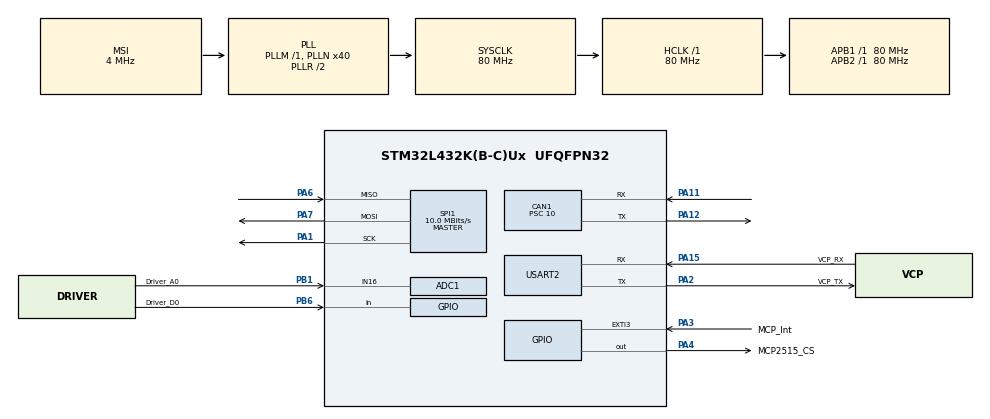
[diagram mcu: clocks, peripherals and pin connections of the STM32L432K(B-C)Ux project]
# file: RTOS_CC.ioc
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ADC1.Channel-30\#ChannelRegularConversion=ADC_CHANNEL_16
ADC1.DataAlign=ADC_DATAALIGN_LEFT
ADC1.NbrOfConversionFlag=1
ADC1.OffsetNumber-30\#ChannelRegularConversion=ADC_OFFSET_NONE
ADC1.Rank-30\#ChannelRegularConversion=1
ADC1.SamplingTime-30\#ChannelRegularConversion=ADC_SAMPLETIME_2CYCLES_5
ADC1.master=1
CAN1.ABOM=ENABLE
CAN1.AWUM=ENABLE
CAN1.BS1=CAN_BS1_12TQ
CAN1.BS2=CAN_BS2_3TQ
CAN1.CalculateTimeBit=2000
CAN1.CalculateTimeQuantum=125.0
CAN1.Prescaler=10
CAN1.SJW=CAN_SJW_3TQ
Dma.Request0=USART2_RX
Dma.Request1=USART2_TX
Dma.Request2=SPI1_TX
Dma.Request3=SPI1_RX
Dma.SPI1_RX.3.Direction=DMA_PERIPH_TO_MEMORY
Dma.SPI1_RX.3.Instance=DMA1_Channel2
Dma.SPI1_RX.3.MemDataAlignment=DMA_MDATAALIGN_BYTE
Dma.SPI1_RX.3.MemInc=DMA_MINC_ENABLE
Dma.SPI1_RX.3.Mode=DMA_NORMAL
Dma.SPI1_RX.3.PeriphDataAlignment=DMA_PDATAALIGN_BYTE
Dma.SPI1_RX.3.PeriphInc=DMA_PINC_DISABLE
Dma.SPI1_RX.3.Priority=DMA_PRIORITY_VERY_HIGH
Dma.SPI1_TX.2.Direction=DMA_MEMORY_TO_PERIPH
Dma.SPI1_TX.2.Instance=DMA1_Channel3
Dma.SPI1_TX.2.MemDataAlignment=DMA_MDATAALIGN_BYTE
Dma.SPI1_TX.2.MemInc=DMA_MINC_ENABLE
Dma.SPI1_TX.2.Mode=DMA_NORMAL
Dma.SPI1_TX.2.PeriphDataAlignment=DMA_PDATAALIGN_BYTE
Dma.SPI1_TX.2.PeriphInc=DMA_PINC_DISABLE
Dma.SPI1_TX.2.Priority=DMA_PRIORITY_HIGH
Dma.USART2_RX.0.Direction=DMA_PERIPH_TO_MEMORY
Dma.USART2_RX.0.Instance=DMA1_Channel6
Dma.USART2_RX.0.MemDataAlignment=DMA_MDATAALIGN_BYTE
Dma.USART2_RX.0.MemInc=DMA_MINC_ENABLE
Dma.USART2_RX.0.Mode=DMA_CIRCULAR
Dma.USART2_RX.0.PeriphDataAlignment=DMA_PDATAALIGN_BYTE
Dma.USART2_RX.0.PeriphInc=DMA_PINC_DISABLE
Dma.USART2_RX.0.Priority=DMA_PRIORITY_HIGH
Dma.USART2_TX.1.Direction=DMA_MEMORY_TO_PERIPH
Dma.USART2_TX.1.Instance=DMA1_Channel7
Dma.USART2_TX.1.MemDataAlignment=DMA_MDATAALIGN_BYTE
Dma.USART2_TX.1.MemInc=DMA_MINC_ENABLE
Dma.USART2_TX.1.Mode=DMA_NORMAL
Dma.USART2_TX.1.PeriphDataAlignment=DMA_PDATAALIGN_BYTE
Dma.USART2_TX.1.PeriphInc=DMA_PINC_DISABLE
Dma.USART2_TX.1.Priority=DMA_PRIORITY_MEDIUM
FREERTOS.BinarySemaphores01=spiRxDirty
FREERTOS.HEAP_NUMBER=4
FREERTOS.INCLUDE_eTaskGetState=1
FREERTOS.INCLUDE_vTaskDelayUntil=1
FREERTOS.INCLUDE_xQueueGetMutexHolder=1
FREERTOS.INCLUDE_xSemaphoreGetMutexHolder=1
FREERTOS.INCLUDE_xTaskGetCurrentTaskHandle=1
FREERTOS.Mutexes01=ctrlVarMtx
FREERTOS.Queues01=mainCanTxBuf,8,Can_frame_t,NULL;mainCanRxBuf,8,Can_frame_core_t,NULL;motCanTxBuf,8,Can_frame_t,NULL;badNodes,16,uint8_t,NULL
FREERTOS.Tasks01=RT_Handler,2,512,doRealTime,Default;mainCan_Tx,0,512,doCanTx,Default;Can_Processor,-1,512,doProcessCan,Default;Node_Manager,-2,512,doNodeManager,Default;motCan_Tx,2,512,doMotCanTx,Default;kickWatchdog,3,256,doKickDog,Default
FREERTOS.Timers01=HBTmr,TmrSendHB,osTimerPeriodic,Default
FREERTOS.configCHECK_FOR_STACK_OVERFLOW=2
FREERTOS.configENABLE_BACKWARD_COMPATIBILITY=0
FREERTOS.configMAX_PRIORITIES=7
FREERTOS.configMINIMAL_STACK_SIZE=256
FREERTOS.configTIMER_QUEUE_LENGTH=32
FREERTOS.configTIMER_TASK_PRIORITY=5
FREERTOS.configTIMER_TASK_STACK_DEPTH=512
FREERTOS.configTOTAL_HEAP_SIZE=32768
FREERTOS.configUSE_MALLOC_FAILED_HOOK=1
FREERTOS.configUSE_PORT_OPTIMISED_TASK_SELECTION=1
FREERTOS.configUSE_TASK_NOTIFICATIONS=0
FREERTOS.configUSE_TIMERS=1
FREERTOS.configUSE_TRACE_FACILITY=0
Mcu.Family=STM32L4
Mcu.Name=STM32L432K(B-C)Ux
Mcu.Package=UFQFPN32
NVIC.CAN1_RX0_IRQn=true\:5\:0\:true\:false\:true\:true
NVIC.CAN1_RX1_IRQn=true\:5\:0\:true\:false\:true\:true
NVIC.CAN1_SCE_IRQn=true\:5\:0\:true\:false\:true\:true
NVIC.CAN1_TX_IRQn=true\:5\:0\:true\:false\:true\:true
NVIC.DMA1_Channel2_IRQn=true\:5\:0\:false\:false\:true\:true
NVIC.DMA1_Channel3_IRQn=true\:5\:0\:false\:false\:true\:true
NVIC.DMA1_Channel6_IRQn=true\:5\:0\:false\:false\:true\:true
NVIC.DMA1_Channel7_IRQn=true\:5\:0\:false\:false\:true\:true
NVIC.EXTI3_IRQn=true\:5\:0\:false\:false\:true\:true
NVIC.PriorityGroup=NVIC_PRIORITYGROUP_4
NVIC.SPI1_IRQn=true\:5\:0\:false\:false\:true\:true
NVIC.TIM6_DAC_IRQn=true\:0\:0\:false\:false\:true\:false
NVIC.TimeBase=TIM6_DAC_IRQn
NVIC.TimeBaseIP=TIM6
NVIC.USART2_IRQn=true\:5\:0\:false\:false\:true\:true
PA1.Mode=Full_Duplex_Master
PA1.Signal=SPI1_SCK
PA11.Mode=Master
PA11.Signal=CAN1_RX
PA12.Mode=Master
PA12.Signal=CAN1_TX
PA13\ (JTMS-SWDIO).Mode=Serial_Wire
PA13\ (JTMS-SWDIO).Signal=SYS_JTMS-SWDIO
PA14\ (JTCK-SWCLK).Mode=Serial_Wire
PA14\ (JTCK-SWCLK).Signal=SYS_JTCK-SWCLK
PA15\ (JTDI).GPIO_Label=VCP_RX
PA15\ (JTDI).Mode=Asynchronous
PA15\ (JTDI).Signal=USART2_RX
PA2.GPIO_Label=VCP_TX
PA2.Mode=Asynchronous
PA2.Signal=USART2_TX
PA3.GPIO_Label=MCP_Int
PA3.GPIO_ModeDefaultEXTI=GPIO_MODE_IT_FALLING
PA3.GPIO_PuPd=GPIO_PULLUP
PA3.Signal=GPXTI3
PA4.GPIO_Label=MCP2515_CS
PA4.GPIO_ModeDefaultOutputPP=GPIO_MODE_OUTPUT_PP
PA4.GPIO_PuPd=GPIO_NOPULL
PA4.GPIO_Speed=GPIO_SPEED_FREQ_VERY_HIGH
PA4.PinState=GPIO_PIN_SET
PA4.Signal=GPIO_Output
PA6.Mode=Full_Duplex_Master
PA6.Signal=SPI1_MISO
PA7.Mode=Full_Duplex_Master
PA7.Signal=SPI1_MOSI
PB1.GPIO_Label=Driver_A0
PB1.Signal=ADCx_IN16
PB6.GPIO_Label=Driver_D0
PB6.Signal=GPIO_Input
ProjectManager.HeapSize=0x200
ProjectManager.StackSize=0x400
ProjectManager.TargetToolchain=SW4STM32
RCC.ADCCLockSelection=RCC_ADCCLKSOURCE_SYSCLK
RCC.ADCFreq_Value=80000000
RCC.AHBFreq_Value=80000000
RCC.APB1Freq_Value=80000000
RCC.APB1TimFreq_Value=80000000
RCC.APB2Freq_Value=80000000
RCC.APB2TimFreq_Value=80000000
RCC.CortexFreq_Value=80000000
RCC.HCLKFreq_Value=80000000
RCC.HSE_VALUE=8000000
RCC.HSI16_VALUE=16000000
RCC.HSI48_VALUE=48000000
RCC.HSI_VALUE=16000000
RCC.LSE_VALUE=32768
RCC.MSI_VALUE=4000000
RCC.PLLMUL=RCC_PLLMUL_4
RCC.PLLN=40
RCC.PLLSAI1N=40
RCC.PREFETCH_ENABLE=1
RCC.SYSCLKFreq_VALUE=80000000
RCC.SYSCLKSource=RCC_SYSCLKSOURCE_PLLCLK
RCC.USBFreq_Value=80000000
RCC.VCOOutputFreq_Value=160000000
SH.ADCx_IN16.0=ADC1_IN16,IN16-Single-Ended
SPI1.BaudRatePrescaler=SPI_BAUDRATEPRESCALER_8
SPI1.CalculateBaudRate=10.0 MBits/s
SPI1.DataSize=SPI_DATASIZE_8BIT
SPI1.Mode=SPI_MODE_MASTER
USART2.WordLength=UART_WORDLENGTH_8B
VP_FREERTOS_VS_ENABLE.Mode=Enabled
VP_SYS_VS_tim6.Mode=TIM6
VP_WWDG_VS_WWDG.Mode=WWDG_Activate
WWDG.Counter=127
WWDG.Prescaler=WWDG_PRESCALER_8
WWDG.Window=127
board=NUCLEO-L432KC

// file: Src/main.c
/**
  ******************************************************************************
  * File Name          : main.c
  * Description        : Main program body
  ******************************************************************************
  *
  * Copyright (c) 2016 STMicroelectronics International N.V.
  * All rights reserved.
  *
  * Redistribution and use in source and binary forms, with or without
  * modification, are permitted, provided that the following conditions are met:
  *
  * 1. Redistribution of source code must retain the above copyright notice,
  *    this list of conditions and the following disclaimer.
  * 2. Redistributions in binary form must reproduce the above copyright notice,
  *    this list of conditions and the following disclaimer in the documentation
  *    and/or other materials provided with the distribution.
  * 3. Neither the name of STMicroelectronics nor the names of other
  *    contributors to this software may be used to endorse or promote products
  *    derived from this software without specific written permission.
  * 4. This software, including modifications and/or derivative works of this
  *    software, must execute solely and exclusively on microcontroller or
  *    microprocessor devices manufactured by or for STMicroelectronics.
  * 5. Redistribution and use of this software other than as permitted under
  *    this license is void and will automatically terminate your rights under
  *    this license.
  *
  * THIS SOFTWARE IS PROVIDED BY STMICROELECTRONICS AND CONTRIBUTORS "AS IS"
  * AND ANY EXPRESS, IMPLIED OR STATUTORY WARRANTIES, INCLUDING, BUT NOT
  * LIMITED TO, THE IMPLIED WARRANTIES OF MERCHANTABILITY, FITNESS FOR A
  * PARTICULAR PURPOSE AND NON-INFRINGEMENT OF THIRD PARTY INTELLECTUAL PROPERTY
  * RIGHTS ARE DISCLAIMED TO THE FULLEST EXTENT PERMITTED BY LAW. IN NO EVENT
  * SHALL STMICROELECTRONICS OR CONTRIBUTORS BE LIABLE FOR ANY DIRECT, INDIRECT,
  * INCIDENTAL, SPECIAL, EXEMPLARY, OR CONSEQUENTIAL DAMAGES (INCLUDING, BUT NOT
  * LIMITED TO, PROCUREMENT OF SUBSTITUTE GOODS OR SERVICES; LOSS OF USE, DATA,
  * OR PROFITS; OR BUSINESS INTERRUPTION) HOWEVER CAUSED AND ON ANY THEORY OF
  * LIABILITY, WHETHER IN CONTRACT, STRICT LIABILITY, OR TORT (INCLUDING
  * NEGLIGENCE OR OTHERWISE) ARISING IN ANY WAY OUT OF THE USE OF THIS SOFTWARE,
  * EVEN IF ADVISED OF THE POSSIBILITY OF SUCH DAMAGE.
  *
  ******************************************************************************
  */
#include "main.h"
#include "stm32l4xx_hal.h"
#include "cmsis_os.h"

/* USER CODE BEGIN Includes */
#include "serial.h"
#include "can.h"
//#include "MCP2515.h"
#include "../../CAN_ID.h"	// Common CAN ID header 2 directories up from here
#include "firmwareTable.h"

/* USER CODE END Includes */

ADC_HandleTypeDef hadc1;

CAN_HandleTypeDef hcan1;

SPI_HandleTypeDef hspi1;
DMA_HandleTypeDef hdma_spi1_tx;
DMA_HandleTypeDef hdma_spi1_rx;

UART_HandleTypeDef huart2;
DMA_HandleTypeDef hdma_usart2_rx;
DMA_HandleTypeDef hdma_usart2_tx;

WWDG_HandleTypeDef hwwdg;

osThreadId RT_HandlerHandle;
osThreadId mainCan_TxHandle;
osThreadId Can_ProcessorHandle;
osThreadId Node_ManagerHandle;
osThreadId motCan_TxHandle;
osThreadId kickWatchdogHandle;
osMessageQId mainCanTxBufHandle;
osMessageQId mainCanRxBufHandle;
osMessageQId motCanTxBufHandle;
osMessageQId badNodesHandle;
osTimerId HBTmrHandle;
osMutexId ctrlVarMtxHandle;
osSemaphoreId spiRxDirtyHandle;

/* USER CODE BEGIN PV */
/* Private variables ---------------------------------------------------------*/
osMutexId nodeEntryMtxHandle[MAX_NODE_NUM];		// Mutex for every node table entry
osTimerId nodeTmrHandle[MAX_NODE_NUM];			// Timer for each node's timeout timer
nodeEntry nodeTable[MAX_NODE_NUM];
controlVars userInput;
/* USER CODE END PV */

void SystemClock_Config(void);
void Error_Handler(void);
static void MX_GPIO_Init(void);
static void MX_DMA_Init(void);
static void MX_CAN1_Init(void);
static void MX_USART2_UART_Init(void);
static void MX_WWDG_Init(void);
static void MX_SPI1_Init(void);
static void MX_ADC1_Init(void);
void doRealTime(void const * argument);
void doCanTx(void const * argument);
void doProcessCan(void const * argument);
void doNodeManager(void const * argument);
void doMotCanTx(void const * argument);
void doKickDog(void const * argument);
void TmrSendHB(void const * argument);

/* USER CODE BEGIN PFP */
/* Private function prototypes -----------------------------------------------*/
void HAL_GPIO_EXTI_Callback(uint16_t GPIO_Pin){
	switch(GPIO_Pin){
	case MCP_Int_Pin:
		//MCP2515_EXTICallback();
		break;
	}
}

static inline void shutdownMotor(){
	static Can_frame_t offFrame;
	// Switch positions to indicate motor neutral
	offFrame.isExt = 0;
	offFrame.isRemote = 0;
	offFrame.core.id = mc_P2P;
	offFrame.core.dlc = CMD_DLC;
	offFrame.core.Data[0] = NODE_SHUTDOWN;
	while(Can_availableForTx() == 0){	// Wait if bxCAN module is still busy
	  osDelay(motCanTxInterval);
	}
	Can_sendStd(offFrame.core.id,offFrame.isRemote,offFrame.core.Data,offFrame.core.dlc);
}

static inline void shutdown_routine(){
	// Don't care about locking the statusWord here since we are in Critical Area
	nodeTable[cc_nodeID].nodeStatusWord &= 0xfffffff8;	// Clear the node status field
	nodeTable[cc_nodeID].nodeStatusWord |= SHUTDOWN;		// Set status to shutdown

	// Put motor into SHUTDOWN state
	shutdownMotor();

	// Broadcast CC shutdown state to main CAN
	static Can_frame_t newFrame;
	newFrame.core.id = radio_SW;
	newFrame.core.dlc = CAN_HB_DLC;
	for(int i=0; i<4; i++){
		newFrame.core.Data[3-i] = (nodeTable[cc_nodeID].nodeStatusWord >> (8*i)) & 0xff;			// Convert uint32_t -> uint8_t
	}
	//XXX xQueueSendFromISR(mainCanTxBufHandle, &newFrame, pdFALSE);
	HAL_Delay(1);	// 1ms delay to ensure the queue is properly updated before proceeding

	// Loop through Main CAN Tx buffer to send any pending messages
	while(uxQueueMessagesWaitingFromISR(mainCanTxBufHandle) != 0){
		while(Can_availableForTx() == 0){	// Wait if bxCAN module is still busy
			HAL_WWDG_Refresh(&hwwdg);		// Since we are in the
			HAL_Delay(1);					// Hard delay to flush CAN tx buffers
		}
		xQueueReceiveFromISR(mainCanTxBufHandle, &newFrame, pdFALSE);
		// TODO: Send main CAN message buffers
	}
}

void node_hreset(){
#ifdef DEBUG
	static uint8_t msg[] = "Node hard reset issued\n";
	Serial2_writeBytes(msg, sizeof(msg)-1);
#endif
	NVIC_SystemReset();					// CMSIS System reset function
}

void node_reset(){
#ifdef DEBUG
	static uint8_t msg[] = "Node reset issued\n";
	Serial2_writeBytes(msg, sizeof(msg)-1);
#endif
	shutdown_routine();
	NVIC_SystemReset();					// CMSIS System reset function
}

void node_shutdown(){
	shutdown_routine();	// in shutdown state, CC will continue MC heartbeat
	// Shutdown all active timers
	for(uint8_t i = 0 ; i < MAX_NODE_NUM;i++){
		xTimerStop(nodeTmrHandle[i], portMAX_DELAY);
	}
}

void node_start(){
	// first send to all main nodes RESET command
	static Can_frame_t resetCmd;
	resetCmd.isExt = 0;
	resetCmd.isRemote = 0;
	resetCmd.core.dlc = CMD_DLC;
	for(uint8_t i = 0 ; i < MAX_NODE_NUM;i++){
		if(nodeTable[i].nodeFirmwareVersion != SW_Sentinel){
			resetCmd.core.id = i + p2pOffset;
			resetCmd.core.Data[0] = NODE_RESET;
			//XXX xQueueSend(mainCanTxBufHandle, &resetCmd, portMAX_DELAY);
		}
	}
	// Reset the badNodes queue since a fresh reset has been issued
	xQueueReset(badNodesHandle);
}

void executeCommand(nodeCommands cmd){
	taskENTER_CRITICAL();
	switch(cmd){
	case(NODE_HRESET):
		node_hreset();
		break;
	case(NODE_RESET):
		node_reset();
		break;

	case(NODE_SHUTDOWN):
		node_shutdown();
		break;

	case(NODE_START):
		node_start();
		break;

	default:
		break;
	}
	taskEXIT_CRITICAL();
}

// Handler for node HB timeout
void TmrHBTimeout(void const * argument){
 	uint8_t timerID = (uint8_t)pvTimerGetTimerID((TimerHandle_t)argument);
#ifdef DEBUG
 	Serial2_write(timerID);
 	static uint8_t msg[] = "Timer Triggered\n";
	Serial2_writeBytes(msg,sizeof(msg)-1);

#endif
	nodeTable[timerID].nodeConnectionState = UNRELIABLE;
	if((timerID) != mc_nodeID){
		xQueueSend(badNodesHandle, &timerID, portMAX_DELAY);
	}
}

void setupNodeTable(){
	for(uint8_t i = 0; i < MAX_NODE_NUM; i++){
		nodeTable[i].nodeStatusWord = SW_Sentinel;			// Initialize status word to SENTINEL
		nodeTable[i].nodeFirmwareVersion = SW_Sentinel;		// Initialize firm ware version to SENTINEL
	}

	#ifdef cc_nodeID
		nodeTable[cc_nodeID].nodeConnectionState = DISCONNECTED;
		nodeTable[cc_nodeID].nodeFirmwareVersion = cc_VERSION;
	#endif

	#ifdef mc_nodeID
		nodeTable[mc_nodeID].nodeConnectionState = DISCONNECTED;
		nodeTable[mc_nodeID].nodeFirmwareVersion = mc_VERSION;
	#endif

	#ifdef bps_nodeID
		nodeTable[bps_nodeID].nodeConnectionState = DISCONNECTED;
		nodeTable[bps_nodeID].nodeFirmwareVersion = bps_VERSION;
	#endif

	#ifdef ads_nodeID
		nodeTable[ads_nodeID].nodeConnectionState = DISCONNECTED;
		nodeTable[ads_nodeID].nodeFirmwareVersion = ads_VERSION;
	#endif

	#ifdef radio_nodeID
		nodeTable[radio_nodeID].nodeConnectionState = DISCONNECTED;
		nodeTable[radio_nodeID].nodeFirmwareVersion = radio_VERSION;
	#endif
}

/*
 * Main Can Receive Callback
 */
void mainCanRxCallback(){
	static Can_frame_core_t newCore;

	// TODO: Load newCore with received frame

	// Check if it's anything critical
	taskENTER_CRITICAL();
	switch(newCore.id){
	case (SysEMSD):
		// Ensure motor is shutdown, CC remains ACTIVE for diagnostics
		shutdownMotor();
		break;

	case (UsrEMSD):
		// Ensure motor is shutdown, CC remains ACTIVE for diagnostics
		shutdownMotor();
		break;

	case (p2pOffset):
		// CAN ID is a P2P broadcast -> command
		executeCommand((nodeCommands)newCore.Data);	// Byte length command, no need to put into uint32_t form
		break;

	case (cc_P2P):
		// CAN ID is a P2P ID -> command
		executeCommand((nodeCommands)newCore.Data);	// Byte length command, no need to put into uint32_t form
		break;
	}
	taskEXIT_CRITICAL();
	xQueueSend(mainCanRxBufHandle, &newCore, portMAX_DELAY);	// Send the new data to the mainCanRxBuf queue
}

/*
 * Motor CAN Receive callback
 * Currently implemented to dump all incoming frame cores into the mainCAN
 */
void motCanRxCallback(){
	static Can_frame_core_t newCore;

	// Parse the CAN frame
	// Map motor CAN EXT frame to main CAN Std frame
	newCore.id = (hcan1.pRxMsg->IDE) ? hcan1.pRxMsg->ExtId : hcan1.pRxMsg->StdId;
	newCore.dlc = hcan1.pRxMsg->DLC;
	if(hcan1.pRxMsg->RTR == 0){
		for(int i=0; i<newCore.dlc; i++){
			newCore.Data[i] = hcan1.pRxMsg->Data[i];
		}
	}

	switch(newCore.id){
	case mc_FW:
		// Pipe this to the mainCanRxBuf Handle
		xQueueSendToFrontFromISR(mainCanRxBufHandle, &newCore, pdFALSE);
		break;

	case mc_SW:
		// Pipe this to the mainCanRxBuf Handle
		xQueueSendToFrontFromISR(mainCanRxBufHandle, &newCore, pdFALSE);
		break;

	case mitsubaFr0:
		newCore.id = mcDiag0;
		break;

	case mitsubaFr1:
		newCore.id = mcDiag1;
		break;

	case mitsubaFr2:
		newCore.id = mcDiag2;
		break;
	}

	// XXX: Any data to additional application layer tasks should be buffered with Queues
	//xQueueSendFromISR(mainCanTxBufHandle, &newCore, pdFALSE);	// Push the data onto main CAN for radio
}

/*
 * Rest node given nodeID, the attempt number, and the last tick count for delay Until
 * Will ultimately destroy the task running it
 */
void resetNode(resetParams * passed){
	if(passed->attempts >= 0){
		static Can_frame_t newFrame;
		newFrame.isExt = 0;
		newFrame.isRemote = 0;
		newFrame.core.id = passed->nodeID + p2pOffset;
		newFrame.core.dlc = CMD_DLC;
		if(passed->attempts > 0){
			newFrame.core.Data[0] = NODE_RESET;	// First attempt - soft reset
		}
		else{
			newFrame.core.Data[0] = NODE_HRESET;	// Second attempt and beyond - hard reset
		}
		//XXX xQueueSend(mainCanTxBufHandle, &newFrame, portMAX_DELAY);
		osDelayUntil(&(passed->ticks), HB_Interval);
		if((nodeTable[passed->nodeID].nodeConnectionState & 0x07) == UNRELIABLE){
			passed->attempts = passed->attempts+1;
			resetNode(passed);	// Retry
		}
		else{
			// Recovery successful
#ifdef DEBUG
	Serial2_write(passed->nodeID);
	static uint8_t hbmsg[] = "Node reset success... \n";
	Serial2_writeBytes(hbmsg, sizeof(hbmsg)-1);
#endif
			vTaskDelete(NULL);
		}
	}
	else if(passed->attempts > MAX_RESET_ATTEMPTS){
		// Recovery failed, set node to Hard Error!
		xSemaphoreTake(nodeEntryMtxHandle[passed->nodeID], portMAX_DELAY);
		nodeTable[passed->nodeID].nodeConnectionState = HARD_ERROR;
		xSemaphoreGive(nodeEntryMtxHandle[passed->nodeID]);
#ifdef DEBUG
	Serial2_write(passed->nodeID);
	static uint8_t hbmsg[] = "Node reset failure... \n";
	Serial2_writeBytes(hbmsg, sizeof(hbmsg)-1);
#endif
		vTaskDelete(NULL);
	} else {
		passed->attempts = passed->attempts+1;
		resetNode(passed);	// Retry
	}
}

/* USER CODE END PFP */

int main(void)
{

  /* MCU Configuration----------------------------------------------------------*/

  /* Reset of all peripherals, Initializes the Flash interface and the Systick. */
  HAL_Init();

  /* Configure the system clock */
  SystemClock_Config();

  /* Initialize all configured peripherals */
  MX_GPIO_Init();
  MX_DMA_Init();
  MX_CAN1_Init();
  MX_USART2_UART_Init();
  MX_WWDG_Init();
  MX_SPI1_Init();
  MX_ADC1_Init();

  /* USER CODE BEGIN 2 */
#ifdef DEBUG
	static uint8_t hbmsg[] = "Command Center booting... \n";
	Serial2_writeBytes(hbmsg, sizeof(hbmsg)-1);
#endif
  Can_begin();
  Can_setRxCallback(motCanRxCallback);
  setupNodeTable();
  nodeTable[cc_nodeID].nodeStatusWord = ACTIVE;		// Set initial status to ACTIVE

  // Set up CAN filter banks
  Can_addMaskedFilterStd(swOffset,0xFF0,0); // Filter: Status word group (ignore nodeID)
  Can_addMaskedFilterStd(fwOffset,0xFF0,0); // Filter: Firmware version group (ignore nodeID)

  Can_addMaskedFilterExt(mitsubaFr0,0xFFFFFF0F,0);	// Mitsuba Frame 0
  Can_addMaskedFilterExt(mitsubaFr1,0xFFFFFF0F,0);	// Mitsuba Frame 1
  Can_addMaskedFilterExt(mitsubaFr2,0xFFFFFF0F,0);	// Mitsuba Frame 2
  /* USER CODE END 2 */

  /* Create the mutex(es) */
  /* definition and creation of ctrlVarMtx */
  osMutexDef(ctrlVarMtx);
  ctrlVarMtxHandle = osMutexCreate(osMutex(ctrlVarMtx));

  /* USER CODE BEGIN RTOS_MUTEX */
  	// Node table entry mutex
	// Every entry has a mutex that is associated with the nodeID
	for(uint8_t i =0; i < MAX_NODE_NUM; i++){
	  osMutexDef(i);
	  nodeEntryMtxHandle[i] = osMutexCreate(osMutex(i));
	}
  /* USER CODE END RTOS_MUTEX */

  /* Create the semaphores(s) */
  /* definition and creation of spiRxDirty */
  osSemaphoreDef(spiRxDirty);
  spiRxDirtyHandle = osSemaphoreCreate(osSemaphore(spiRxDirty), 1);

  /* Create the timer(s) */
  /* definition and creation of HBTmr */
  osTimerDef(HBTmr, TmrSendHB);
  HBTmrHandle = osTimerCreate(osTimer(HBTmr), osTimerPeriodic, NULL);
  xTimerChangePeriod(HBTmrHandle, CCMC_HB_Interval, portMAX_DELAY);

  /* USER CODE BEGIN RTOS_TIMERS */
  // Node heartbeat timeout timers
  for(uint8_t TmrID = 0; TmrID < MAX_NODE_NUM; TmrID++){
	  osTimerDef(TmrID, TmrHBTimeout);
	  nodeTmrHandle[TmrID] = osTimerCreate(osTimer(TmrID), osTimerOnce, TmrID);	// TmrID here is stored directly as a variable
	  xTimerChangePeriod(HBTmrHandle, HB_Interval, portMAX_DELAY);
	  // One-shot timer since it should be refreshed by the Can Processor upon node HB reception
  }

  /* USER CODE END RTOS_TIMERS */

  /* Create the thread(s) */
  /* definition and creation of RT_Handler */
  osThreadDef(RT_Handler, doRealTime, osPriorityHigh, 0, 512);
  RT_HandlerHandle = osThreadCreate(osThread(RT_Handler), NULL);

  /* definition and creation of mainCan_Tx */
  osThreadDef(mainCan_Tx, doCanTx, osPriorityNormal, 0, 512);
  mainCan_TxHandle = osThreadCreate(osThread(mainCan_Tx), NULL);

  /* definition and creation of Can_Processor */
  osThreadDef(Can_Processor, doProcessCan, osPriorityBelowNormal, 0, 512);
  Can_ProcessorHandle = osThreadCreate(osThread(Can_Processor), NULL);

  /* definition and creation of Node_Manager */
  osThreadDef(Node_Manager, doNodeManager, osPriorityLow, 0, 512);
  Node_ManagerHandle = osThreadCreate(osThread(Node_Manager), NULL);

  /* definition and creation of motCan_Tx */
  osThreadDef(motCan_Tx, doMotCanTx, osPriorityHigh, 0, 512);
  motCan_TxHandle = osThreadCreate(osThread(motCan_Tx), NULL);

  /* definition and creation of kickWatchdog */
  osThreadDef(kickWatchdog, doKickDog, osPriorityRealtime, 0, 256);
  kickWatchdogHandle = osThreadCreate(osThread(kickWatchdog), NULL);

  /* Create the queue(s) */
  /* definition and creation of mainCanTxBuf */
  osMessageQDef(mainCanTxBuf, 8, Can_frame_t);
  mainCanTxBufHandle = osMessageCreate(osMessageQ(mainCanTxBuf), NULL);

  /* definition and creation of mainCanRxBuf */
  osMessageQDef(mainCanRxBuf, 8, Can_frame_core_t);
  mainCanRxBufHandle = osMessageCreate(osMessageQ(mainCanRxBuf), NULL);

  /* definition and creation of motCanTxBuf */
  osMessageQDef(motCanTxBuf, 8, Can_frame_t);
  motCanTxBufHandle = osMessageCreate(osMessageQ(motCanTxBuf), NULL);

  /* definition and creation of badNodes */
  osMessageQDef(badNodes, 16, uint8_t);
  badNodesHandle = osMessageCreate(osMessageQ(badNodes), NULL);

  /* Start scheduler */
  osKernelStart();

  /* We should never get here as control is now taken by the scheduler */

  /* Infinite loop */
  while (1)
  {

  }

}

/** System Clock Configuration
*/
void SystemClock_Config(void)
{

  RCC_OscInitTypeDef RCC_OscInitStruct;
  RCC_ClkInitTypeDef RCC_ClkInitStruct;
  RCC_PeriphCLKInitTypeDef PeriphClkInit;

    /**Initializes the CPU, AHB and APB busses clocks
    */
  RCC_OscInitStruct.OscillatorType = RCC_OSCILLATORTYPE_MSI;
  RCC_OscInitStruct.MSIState = RCC_MSI_ON;
  RCC_OscInitStruct.MSICalibrationValue = 0;
  RCC_OscInitStruct.MSIClockRange = RCC_MSIRANGE_6;
  RCC_OscInitStruct.PLL.PLLState = RCC_PLL_ON;
  RCC_OscInitStruct.PLL.PLLSource = RCC_PLLSOURCE_MSI;
  RCC_OscInitStruct.PLL.PLLM = 1;
  RCC_OscInitStruct.PLL.PLLN = 40;
  RCC_OscInitStruct.PLL.PLLP = RCC_PLLP_DIV7;
  RCC_OscInitStruct.PLL.PLLQ = RCC_PLLQ_DIV2;
  RCC_OscInitStruct.PLL.PLLR = RCC_PLLR_DIV2;
  if (HAL_RCC_OscConfig(&RCC_OscInitStruct) != HAL_OK)
  {
    Error_Handler();
  }

    /**Initializes the CPU, AHB and APB busses clocks
    */
  RCC_ClkInitStruct.ClockType = RCC_CLOCKTYPE_HCLK|RCC_CLOCKTYPE_SYSCLK
                              |RCC_CLOCKTYPE_PCLK1|RCC_CLOCKTYPE_PCLK2;
  RCC_ClkInitStruct.SYSCLKSource = RCC_SYSCLKSOURCE_PLLCLK;
  RCC_ClkInitStruct.AHBCLKDivider = RCC_SYSCLK_DIV1;
  RCC_ClkInitStruct.APB1CLKDivider = RCC_HCLK_DIV1;
  RCC_ClkInitStruct.APB2CLKDivider = RCC_HCLK_DIV1;

  if (HAL_RCC_ClockConfig(&RCC_ClkInitStruct, FLASH_LATENCY_4) != HAL_OK)
  {
    Error_Handler();
  }

  PeriphClkInit.PeriphClockSelection = RCC_PERIPHCLK_USART2|RCC_PERIPHCLK_ADC;
  PeriphClkInit.Usart2ClockSelection = RCC_USART2CLKSOURCE_PCLK1;
  PeriphClkInit.AdcClockSelection = RCC_ADCCLKSOURCE_SYSCLK;
  if (HAL_RCCEx_PeriphCLKConfig(&PeriphClkInit) != HAL_OK)
  {
    Error_Handler();
  }

    /**Configure the main internal regulator output voltage
    */
  if (HAL_PWREx_ControlVoltageScaling(PWR_REGULATOR_VOLTAGE_SCALE1) != HAL_OK)
  {
    Error_Handler();
  }

    /**Configure the Systick interrupt time
    */
  HAL_SYSTICK_Config(HAL_RCC_GetHCLKFreq()/1000);

    /**Configure the Systick
    */
  HAL_SYSTICK_CLKSourceConfig(SYSTICK_CLKSOURCE_HCLK);

  /* SysTick_IRQn interrupt configuration */
  HAL_NVIC_SetPriority(SysTick_IRQn, 15, 0);
}

/* ADC1 init function */
static void MX_ADC1_Init(void)
{

  ADC_ChannelConfTypeDef sConfig;

    /**Common config
    */
  hadc1.Instance = ADC1;
  hadc1.Init.ClockPrescaler = ADC_CLOCK_ASYNC_DIV1;
  hadc1.Init.Resolution = ADC_RESOLUTION_12B;
  hadc1.Init.DataAlign = ADC_DATAALIGN_LEFT;
  hadc1.Init.ScanConvMode = ADC_SCAN_DISABLE;
  hadc1.Init.EOCSelection = ADC_EOC_SINGLE_CONV;
  hadc1.Init.LowPowerAutoWait = DISABLE;
  hadc1.Init.ContinuousConvMode = DISABLE;
  hadc1.Init.NbrOfConversion = 1;
  hadc1.Init.DiscontinuousConvMode = DISABLE;
  hadc1.Init.NbrOfDiscConversion = 1;
  hadc1.Init.ExternalTrigConv = ADC_SOFTWARE_START;
  hadc1.Init.ExternalTrigConvEdge = ADC_EXTERNALTRIGCONVEDGE_NONE;
  hadc1.Init.DMAContinuousRequests = DISABLE;
  hadc1.Init.Overrun = ADC_OVR_DATA_PRESERVED;
  hadc1.Init.OversamplingMode = DISABLE;
  if (HAL_ADC_Init(&hadc1) != HAL_OK)
  {
    Error_Handler();
  }

    /**Configure Regular Channel
    */
  sConfig.Channel = ADC_CHANNEL_16;
  sConfig.Rank = 1;
  sConfig.SamplingTime = ADC_SAMPLETIME_2CYCLES_5;
  sConfig.SingleDiff = ADC_SINGLE_ENDED;
  sConfig.OffsetNumber = ADC_OFFSET_NONE;
  sConfig.Offset = 0;
  if (HAL_ADC_ConfigChannel(&hadc1, &sConfig) != HAL_OK)
  {
    Error_Handler();
  }

}

/* CAN1 init function */
static void MX_CAN1_Init(void)
{

  hcan1.Instance = CAN1;
  hcan1.Init.Prescaler = 10;
  hcan1.Init.Mode = CAN_MODE_NORMAL;
  hcan1.Init.SJW = CAN_SJW_3TQ;
  hcan1.Init.BS1 = CAN_BS1_12TQ;
  hcan1.Init.BS2 = CAN_BS2_3TQ;
  hcan1.Init.TTCM = DISABLE;
  hcan1.Init.ABOM = ENABLE;
  hcan1.Init.AWUM = ENABLE;
  hcan1.Init.NART = DISABLE;
  hcan1.Init.RFLM = DISABLE;
  hcan1.Init.TXFP = DISABLE;
  if (HAL_CAN_Init(&hcan1) != HAL_OK)
  {
    Error_Handler();
  }

}

/* SPI1 init function */
static void MX_SPI1_Init(void)
{

  hspi1.Instance = SPI1;
  hspi1.Init.Mode = SPI_MODE_MASTER;
  hspi1.Init.Direction = SPI_DIRECTION_2LINES;
  hspi1.Init.DataSize = SPI_DATASIZE_8BIT;
  hspi1.Init.CLKPolarity = SPI_POLARITY_LOW;
  hspi1.Init.CLKPhase = SPI_PHASE_1EDGE;
  hspi1.Init.NSS = SPI_NSS_SOFT;
  hspi1.Init.BaudRatePrescaler = SPI_BAUDRATEPRESCALER_8;
  hspi1.Init.FirstBit = SPI_FIRSTBIT_MSB;
  hspi1.Init.TIMode = SPI_TIMODE_DISABLE;
  hspi1.Init.CRCCalculation = SPI_CRCCALCULATION_DISABLE;
  hspi1.Init.CRCPolynomial = 7;
  hspi1.Init.CRCLength = SPI_CRC_LENGTH_DATASIZE;
  hspi1.Init.NSSPMode = SPI_NSS_PULSE_ENABLE;
  if (HAL_SPI_Init(&hspi1) != HAL_OK)
  {
    Error_Handler();
  }

}

/* USART2 init function */
static void MX_USART2_UART_Init(void)
{

  huart2.Instance = USART2;
  huart2.Init.BaudRate = 115200;
  huart2.Init.WordLength = UART_WORDLENGTH_8B;
  huart2.Init.StopBits = UART_STOPBITS_1;
  huart2.Init.Parity = UART_PARITY_NONE;
  huart2.Init.Mode = UART_MODE_TX_RX;
  huart2.Init.HwFlowCtl = UART_HWCONTROL_NONE;
  huart2.Init.OverSampling = UART_OVERSAMPLING_16;
  huart2.Init.OneBitSampling = UART_ONE_BIT_SAMPLE_DISABLE;
  huart2.AdvancedInit.AdvFeatureInit = UART_ADVFEATURE_NO_INIT;
  if (HAL_UART_Init(&huart2) != HAL_OK)
  {
    Error_Handler();
  }

}

/* WWDG init function */
static void MX_WWDG_Init(void)
{

  hwwdg.Instance = WWDG;
  hwwdg.Init.Prescaler = WWDG_PRESCALER_8;
  hwwdg.Init.Window = 127;
  hwwdg.Init.Counter = 127;
  hwwdg.Init.EWIMode = WWDG_EWI_DISABLE;
  if (HAL_WWDG_Init(&hwwdg) != HAL_OK)
  {
    Error_Handler();
  }

}

static void MX_DMA_Init(void)
{
  /* DMA controller clock enable */
  LL_AHB1_GRP1_EnableClock(LL_AHB1_GRP1_PERIPH_DMA1);

  /* DMA interrupt init */
  /* DMA1_Channel2_IRQn interrupt configuration */
  HAL_NVIC_SetPriority(DMA1_Channel2_IRQn, 5, 0);
  HAL_NVIC_EnableIRQ(DMA1_Channel2_IRQn);
  /* DMA1_Channel3_IRQn interrupt configuration */
  HAL_NVIC_SetPriority(DMA1_Channel3_IRQn, 5, 0);
  HAL_NVIC_EnableIRQ(DMA1_Channel3_IRQn);
  /* DMA1_Channel6_IRQn interrupt configuration */
  HAL_NVIC_SetPriority(DMA1_Channel6_IRQn, 5, 0);
  HAL_NVIC_EnableIRQ(DMA1_Channel6_IRQn);
  /* DMA1_Channel7_IRQn interrupt configuration */
  HAL_NVIC_SetPriority(DMA1_Channel7_IRQn, 5, 0);
  HAL_NVIC_EnableIRQ(DMA1_Channel7_IRQn);

}

/** Configure pins as
        * Analog
        * Input
        * Output
        * EVENT_OUT
        * EXTI
*/
static void MX_GPIO_Init(void)
{

  GPIO_InitTypeDef GPIO_InitStruct;

  /* GPIO Ports Clock Enable */
  __HAL_RCC_GPIOA_CLK_ENABLE();
  __HAL_RCC_GPIOB_CLK_ENABLE();

  /*Configure GPIO pin : MCP_Int_Pin */
  GPIO_InitStruct.Pin = MCP_Int_Pin;
  GPIO_InitStruct.Mode = GPIO_MODE_IT_FALLING;
  GPIO_InitStruct.Pull = GPIO_PULLUP;
  HAL_GPIO_Init(MCP_Int_GPIO_Port, &GPIO_InitStruct);

  /*Configure GPIO pin : Driver_D0_Pin */
  GPIO_InitStruct.Pin = Driver_D0_Pin;
  GPIO_InitStruct.Mode = GPIO_MODE_INPUT;
  GPIO_InitStruct.Pull = GPIO_NOPULL;
  HAL_GPIO_Init(Driver_D0_GPIO_Port, &GPIO_InitStruct);

  /* EXTI interrupt init*/
  HAL_NVIC_SetPriority(EXTI3_IRQn, 5, 0);
  HAL_NVIC_EnableIRQ(EXTI3_IRQn);

}

/* doRealTime function */
void doRealTime(void const * argument)
{
  /* USER CODE BEGIN 5 */
  /* Infinite loop
   * Take GPIO and ADC readings
   * Put into userInputs struct
   * Push variables to mainCanTxBuf
   * Push variables to motCanTxBuf
   * */
  uint32_t PreviousTickTime = osKernelSysTick();
  uint16_t delayTickMarker = osKernelSysTick();	// Counts how many ticks elapsed at least before sending message to main CAN

  for(;;)
  {
	  if(((nodeTable[mc_nodeID].nodeStatusWord & 0x07) == ACTIVE) || ((nodeTable[mc_nodeID].nodeStatusWord & 0x07) == SHUTDOWN)){
		// ALL CRITICAL MOTOR CONTROLS SHOULD BE TOGGLE SWITCHES; NO PUSH BUTTONS!
		xSemaphoreTake(ctrlVarMtxHandle,portMAX_DELAY);
		// TODO: Read ADC values, and update userInputs struct
		xSemaphoreGive(ctrlVarMtxHandle);

		uint32_t currentTickTime = osKernelSysTick();
		// Assemble Switch Position frame
		static Can_frame_t newFrame;
		newFrame.isExt = 0;
		newFrame.isRemote = 0;
		newFrame.core.id = swPos;
		newFrame.core.dlc = swPos_DLC;
		// TODO: assemble switch position data

		if(currentTickTime - delayTickMarker >= ctrlVarTxInterval){
			// TODO: Send to mainCAN
		}

		xQueueSend(motCanTxBufHandle, &newFrame, 0);

		// Assemble Brake Position frame
		newFrame.core.id = brakePos;
		newFrame.core.dlc = brakePos_DLC;
		for(int i=0; i<4; i++){
			newFrame.core.Data[3-i] = ((uint32_t)(userInput.brakePosition) >> (8*i)) & 0xff;			// Convert uint32_t -> uint8_t
		}

		// TODO: Send to mainCAN
		xQueueSend(motCanTxBufHandle, &newFrame, 0);

		// Assemble Accelerator Position frame
		newFrame.core.id = accelPos;
		newFrame.core.dlc = accelPos_DLC;
		for(int i=0; i<4; i++){
			newFrame.core.Data[3-i] = ((uint32_t)(userInput.accelPosition) >> (8*i)) & 0xff;			// Convert uint32_t -> uint8_t
		}

		if(currentTickTime - delayTickMarker >= ctrlVarTxInterval){
			// TODO: Send to mainCAN
		}
		xQueueSend(motCanTxBufHandle, &newFrame, 0);

		// Assemble Regen Position frame
		newFrame.core.id = regenPos;
		newFrame.core.dlc = regenPos_DLC;
		for(int i=0; i<4; i++){
			newFrame.core.Data[3-i] = ((uint32_t)(userInput.regenPosition) >> (8*i)) & 0xff;			// Convert uint32_t -> uint8_t
		}

		if(currentTickTime - delayTickMarker >= ctrlVarTxInterval){
			// TODO: Send to mainCAN
			delayTickMarker = osKernelSysTick();		// Only reset at the very end to ensure that all 3 variables are sent synchronously
		}
		xQueueSend(motCanTxBufHandle, &newFrame, 0);
	  }
	// Periodic function
	osDelayUntil(&PreviousTickTime, RT_Interval);
  }
  /* USER CODE END 5 */
}

/* doCanTx function
 * Main CAN transmission function via MCP2515
 * */
void doCanTx(void const * argument)
{
  /* USER CODE BEGIN doCanTx */
  /* Infinite loop */
  for(;;)
  {
	  static Can_frame_t newFrame;
	  xQueueReceive(mainCanTxBufHandle, &newFrame, portMAX_DELAY);	// Only process CAN Transmissions when the queue is non-empty

	  if (((nodeTable[cc_nodeID].nodeStatusWord & 0x07) == ACTIVE)){
		  // Only attempt transmission if CC is in ACTIVE mode
		  while(0/* TODO: mainCAN available */){	// Wait if MCP2515 module is still busy
			  osDelay(mainCanTxInterval);
		  }
		  // TODO: mainCAN send
	  }
  }
  /* USER CODE END doCanTx */
}

/* doProcessCan function */
void doProcessCan(void const * argument)
{
  /* USER CODE BEGIN doProcessCan */
  /* Infinite loop */
  for(;;)
  {
	static Can_frame_t newFrame;
	xQueueReceive(mainCanRxBufHandle, &newFrame, portMAX_DELAY);
	uint32_t canID = newFrame.core.id;	// canID container
	uint8_t nodeID = canID & 0x00F;		// nodeID container

	// CAN ID group processing
	if((nodeTable[cc_nodeID].nodeStatusWord & 0x07) == ACTIVE){
		// Only respond if node is active
		uint32_t temp_data = 0;				// Temporary data container
		for(int i=0; i<4; i++){
			temp_data |= (newFrame.core.Data[i] << (8*(3-i)));
		}

		if ((canID & 0xFF0) == swOffset){
			// Check if node is defined in nodeTable
			if(nodeTable[nodeID].nodeFirmwareVersion == SW_Sentinel)
			{
				// Node not in registered domain; Send SHUTDOWN command to node
				static Can_frame_t shutdownCMD;
				shutdownCMD.isExt = 0;
				shutdownCMD.isRemote = 0;
				shutdownCMD.core.id = nodeID + p2pOffset;
				shutdownCMD.core.dlc = CMD_DLC;
				shutdownCMD.core.Data[0] = NODE_SHUTDOWN;
				//XXX xQueueSend(mainCanTxBufHandle, &shutdownCMD, portMAX_DELAY);
				break;
			}
			// CAN ID is a status word address
			if(nodeTable[nodeID].nodeConnectionState == CONNECTED){
				xSemaphoreTake(nodeEntryMtxHandle[nodeID],portMAX_DELAY);
				nodeTable[nodeID].nodeStatusWord = temp_data;
				xSemaphoreGive(nodeEntryMtxHandle[nodeID]);
				if((temp_data & 0x07) == ACTIVE){
					xTimerReset(nodeTmrHandle[nodeID], portMAX_DELAY);	// Reset the node heartbeat count down
				}
				else if (((temp_data & 0x07) == SHUTDOWN)){
					xTimerStop(nodeTmrHandle[nodeID], portMAX_DELAY);	// Stop the heartbeat timer when the node is in SHUTDOWN state
				}
			}
			else if(nodeTable[nodeID].nodeConnectionState == CONNECTING){
				if((temp_data & 0x07) == ACTIVE){
					xSemaphoreTake(nodeEntryMtxHandle[nodeID],portMAX_DELAY);
					nodeTable[nodeID].nodeStatusWord = temp_data;
					nodeTable[nodeID].nodeConnectionState = CONNECTED;
					xSemaphoreGive(nodeEntryMtxHandle[nodeID]);

					if(nodeID == mc_nodeID){
						xTimerReset(HBTmrHandle, portMAX_DELAY);		// Start the timer for the motor heartbeat
					}
				}
				// If node not in ACTIVE state, will continue waiting until HB timeout and the node is flagged as unreliable
				xTimerReset(nodeTmrHandle[nodeID], portMAX_DELAY);	// Start the timer for the new node
			}
			else{
				xSemaphoreTake(nodeEntryMtxHandle[nodeID],portMAX_DELAY);
				nodeTable[nodeID].nodeConnectionState = UNRELIABLE;
				xSemaphoreGive(nodeEntryMtxHandle[nodeID]);
				xQueueSend(badNodesHandle, &nodeID, portMAX_DELAY);
			}
		}
		else if((canID & 0xFF0) == fwOffset){

			static Can_frame_t shutdownCMD;
			shutdownCMD.isExt = 0;
			shutdownCMD.isRemote = 0;
			shutdownCMD.core.id = nodeID + p2pOffset;
			shutdownCMD.core.dlc = CMD_DLC;

			// Check if node is in table
			if(nodeTable[nodeID].nodeFirmwareVersion == SW_Sentinel)
			{
				// Node not in registered domain; Send SHUTDOWN command to node
				shutdownCMD.core.Data[0] = NODE_SHUTDOWN;
			}
			else if(temp_data == nodeTable[nodeID].nodeFirmwareVersion){
				// Firmware version accepted
				shutdownCMD.core.Data[0] = CC_ACK;
				xSemaphoreTake(nodeEntryMtxHandle[nodeID],portMAX_DELAY);
				nodeTable[nodeID].nodeConnectionState = CONNECTING;
				xSemaphoreGive(nodeEntryMtxHandle[nodeID]);
			}
			else {
				// Incorrect firmware version
				shutdownCMD.core.Data[0] = CC_NACK;
				xSemaphoreTake(nodeEntryMtxHandle[nodeID],portMAX_DELAY);
				nodeTable[nodeID].nodeConnectionState = DISCONNECTED;
				xSemaphoreGive(nodeEntryMtxHandle[nodeID]);
			}

			if(nodeID == mc_nodeID){
				// Respond to the motorCAN
				xQueueSend(motCanTxBufHandle, &shutdownCMD, portMAX_DELAY);
			}

			//XXX xQueueSend(mainCanTxBufHandle, &shutdownCMD, portMAX_DELAY);
		}
		/*
		else {
			// Individual CAN ID Processing
			switch(canID){
				// Insert CAN IDs here
				default:
					// Ignore other incoming frames
					break;
			}
		}
		*/
	}
  }
  /* USER CODE END doProcessCan */
}

/* doNodeManager function */
void doNodeManager(void const * argument)
{
  /* USER CODE BEGIN doNodeManager */
  /* Infinite loop */
  for(;;)
  {
	uint8_t badNodeID = 0xFF;
	xQueueReceive(badNodesHandle, &badNodeID, portMAX_DELAY);
	resetParams toPass;
	toPass.nodeID = badNodeID;
	toPass.attempts = 0;
	toPass.ticks = osKernelSysTick();
	xTaskCreate(resetNode, (const char*)"", 512, (void *)(&toPass), uxTaskPriorityGet(NULL),NULL);
  }
  /* USER CODE END doNodeManager */
}

/* doMotCanTx function
 * send data to the motor CAN via STM32 bxCAN
 * */
void doMotCanTx(void const * argument)
{
  /* USER CODE BEGIN doMotCanTx */
  /* Infinite loop */
  for(;;)
  {
	  static Can_frame_t newFrame;
	  xQueueReceive(motCanTxBufHandle, &newFrame, portMAX_DELAY);	// Only process CAN Transmissions when the queue is non-empty
	  uint32_t motStatus = nodeTable[mc_nodeID].nodeStatusWord & 0x07;

	  if ((motStatus & 0x07) != CONN_ERROR){
		  // Only send to motor controller if it is ACTIVE or in SHUTDOWN mode
		  while(Can_availableForTx() == 0){	// Wait if bxCAN module is still busy
			  osDelay(motCanTxInterval);
		  }
		  // Motor CAN diagnostic request is an extended frame
		  if (newFrame.isExt){
			Can_sendExt(newFrame.core.id,newFrame.isRemote,newFrame.core.Data,newFrame.core.dlc);
		  } else{
			Can_sendStd(newFrame.core.id,newFrame.isRemote,newFrame.core.Data,newFrame.core.dlc);
		  }

		  for(uint8_t i = 0; i < 750; i++);	// Small busy loop delay to throttle the CAN rate
	  }
  }
  /* USER CODE END doMotCanTx */
}

/* doKickDog function */
void doKickDog(void const * argument)
{
  /* USER CODE BEGIN doKickDog */
  /* Infinite loop */
  uint32_t PreviousTickTime = osKernelSysTick();
  for(;;)
  {
	taskENTER_CRITICAL();
	HAL_WWDG_Refresh(&hwwdg);
	taskEXIT_CRITICAL();

	osDelayUntil(&PreviousTickTime, WD_Interval);
  }
  /* USER CODE END doKickDog */
}

/* TmrSendHB function */
void TmrSendHB(void const * argument)
{
  /* USER CODE BEGIN TmrSendHB */
	static Can_frame_t newFrame;
	uint32_t motStatus = nodeTable[mc_nodeID].nodeStatusWord & 0x07;

	// MC Diagnostic request
	if(motStatus == ACTIVE){
		// Only send HB to MC if MC is in ACTIVE or SHUTDOWN state
		newFrame.isExt = 1;
		newFrame.isRemote = 0;
		newFrame.core.id = mitsubaREQ;
		newFrame.core.dlc = Req_DLC;
		newFrame.core.Data[0] = Req_Frm0 | Req_Frm1 | Req_Frm2;

		xQueueSend(motCanTxBufHandle, &newFrame, portMAX_DELAY);
	}

	// CC-MC Heartbeat
	if((motStatus == ACTIVE) || (motStatus == SHUTDOWN)){
		// Only send HB to MC if MC is in ACTIVE or SHUTDOWN state
		newFrame.isExt = 0;
		newFrame.isRemote = 0;
		newFrame.core.id = cc_SW;
		newFrame.core.dlc = CAN_HB_DLC;
		for(int i=0; i<4; i++){
			newFrame.core.Data[3-i] = (nodeTable[cc_nodeID].nodeStatusWord >> (8*i)) & 0xff;			// Convert uint32_t -> uint8_t
		}

		xQueueSend(motCanTxBufHandle, &newFrame, portMAX_DELAY);
	}
	uint8_t items = uxQueueSpacesAvailable(motCanTxBufHandle);
	Serial2_write(items);
  /* USER CODE END TmrSendHB */
}

void HAL_TIM_PeriodElapsedCallback(TIM_HandleTypeDef *htim)
{
  if (htim->Instance == TIM6) {
    HAL_IncTick();
  }
}

void Error_Handler(void)
{
  while(1)
  {
  }
}

/************************ (C) COPYRIGHT STMicroelectronics *****END OF FILE****/

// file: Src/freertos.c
/**
  ******************************************************************************
  * File Name          : freertos.c
  * Description        : Code for freertos applications
  ******************************************************************************
  *
  * Copyright (c) 2016 STMicroelectronics International N.V.
  * All rights reserved.
  *
  * Redistribution and use in source and binary forms, with or without
  * modification, are permitted, provided that the following conditions are met:
  *
  * 1. Redistribution of source code must retain the above copyright notice,
  *    this list of conditions and the following disclaimer.
  * 2. Redistributions in binary form must reproduce the above copyright notice,
  *    this list of conditions and the following disclaimer in the documentation
  *    and/or other materials provided with the distribution.
  * 3. Neither the name of STMicroelectronics nor the names of other
  *    contributors to this software may be used to endorse or promote products
  *    derived from this software without specific written permission.
  * 4. This software, including modifications and/or derivative works of this
  *    software, must execute solely and exclusively on microcontroller or
  *    microprocessor devices manufactured by or for STMicroelectronics.
  * 5. Redistribution and use of this software other than as permitted under
  *    this license is void and will automatically terminate your rights under
  *    this license.
  *
  * THIS SOFTWARE IS PROVIDED BY STMICROELECTRONICS AND CONTRIBUTORS "AS IS"
  * AND ANY EXPRESS, IMPLIED OR STATUTORY WARRANTIES, INCLUDING, BUT NOT
  * LIMITED TO, THE IMPLIED WARRANTIES OF MERCHANTABILITY, FITNESS FOR A
  * PARTICULAR PURPOSE AND NON-INFRINGEMENT OF THIRD PARTY INTELLECTUAL PROPERTY
  * RIGHTS ARE DISCLAIMED TO THE FULLEST EXTENT PERMITTED BY LAW. IN NO EVENT
  * SHALL STMICROELECTRONICS OR CONTRIBUTORS BE LIABLE FOR ANY DIRECT, INDIRECT,
  * INCIDENTAL, SPECIAL, EXEMPLARY, OR CONSEQUENTIAL DAMAGES (INCLUDING, BUT NOT
  * LIMITED TO, PROCUREMENT OF SUBSTITUTE GOODS OR SERVICES; LOSS OF USE, DATA,
  * OR PROFITS; OR BUSINESS INTERRUPTION) HOWEVER CAUSED AND ON ANY THEORY OF
  * LIABILITY, WHETHER IN CONTRACT, STRICT LIABILITY, OR TORT (INCLUDING
  * NEGLIGENCE OR OTHERWISE) ARISING IN ANY WAY OUT OF THE USE OF THIS SOFTWARE,
  * EVEN IF ADVISED OF THE POSSIBILITY OF SUCH DAMAGE.
  *
  ******************************************************************************
  */

#include "FreeRTOS.h"
#include "task.h"

/* USER CODE BEGIN Includes */
#include "main.h"
#include "../../CAN_ID.h"
/* USER CODE END Includes */

/* USER CODE BEGIN Variables */
extern nodeEntry * nodeTable;
/* USER CODE END Variables */

/* Hook prototypes */
void vApplicationStackOverflowHook(TaskHandle_t xTask, signed char *pcTaskName);
void vApplicationMallocFailedHook(void);

/* USER CODE BEGIN 4 */
__weak void vApplicationStackOverflowHook(TaskHandle_t xTask, signed char *pcTaskName)
{
   /* Run time stack overflow checking is performed if
   configCHECK_FOR_STACK_OVERFLOW is defined to 1 or 2. This hook function is
   called if a stack overflow is detected. */
	nodeTable[cc_nodeID].nodeStatusWord &= 0xFFFFFFF0;
	nodeTable[cc_nodeID].nodeStatusWord |= HARD_ERROR;
}
/* USER CODE END 4 */

/* USER CODE BEGIN 5 */
__weak void vApplicationMallocFailedHook(void)
{
   /* vApplicationMallocFailedHook() will only be called if
   configUSE_MALLOC_FAILED_HOOK is set to 1 in FreeRTOSConfig.h. It is a hook
   function that will get called if a call to pvPortMalloc() fails.
   pvPortMalloc() is called internally by the kernel whenever a task, queue,
   timer or semaphore is created. It is also called by various parts of the
   demo application. If heap_1.c or heap_2.c are used, then the size of the
   heap available to pvPortMalloc() is defined by configTOTAL_HEAP_SIZE in
   FreeRTOSConfig.h, and the xPortGetFreeHeapSize() API function can be used
   to query the size of free heap space that remains (although it does not
   provide information on how the remaining heap might be fragmented). */
	nodeTable[cc_nodeID].nodeStatusWord &= 0xFFFFFFF0;
	nodeTable[cc_nodeID].nodeStatusWord |= HARD_ERROR;
}
/* USER CODE END 5 */

/************************ (C) COPYRIGHT STMicroelectronics *****END OF FILE****/
